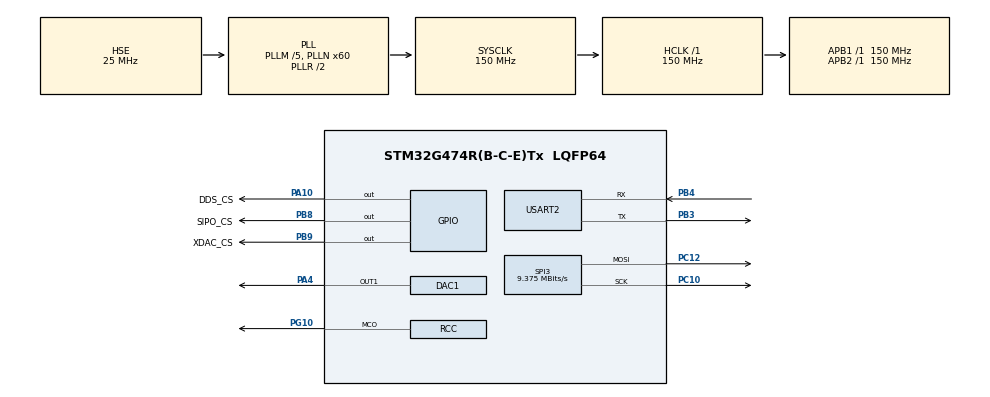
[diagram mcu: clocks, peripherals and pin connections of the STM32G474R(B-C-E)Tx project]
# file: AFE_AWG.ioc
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CRC.CRCLength=CRC_POLYLENGTH_16B
CRC.DefaultInitValueUse=DEFAULT_INIT_VALUE_DISABLE
CRC.DefaultPolynomialUse=DEFAULT_POLYNOMIAL_DISABLE
CRC.GeneratingPolynomial=X12+X5+X0
DAC1.DAC_Trigger_OUT1-DAC_OUT1=DAC_TRIGGER_T7_TRGO
Dma.DAC1_CH1.1.Direction=DMA_MEMORY_TO_PERIPH
Dma.DAC1_CH1.1.EventEnable=DISABLE
Dma.DAC1_CH1.1.Instance=DMA1_Channel1
Dma.DAC1_CH1.1.MemDataAlignment=DMA_MDATAALIGN_HALFWORD
Dma.DAC1_CH1.1.MemInc=DMA_MINC_ENABLE
Dma.DAC1_CH1.1.Mode=DMA_CIRCULAR
Dma.DAC1_CH1.1.PeriphDataAlignment=DMA_PDATAALIGN_WORD
Dma.DAC1_CH1.1.PeriphInc=DMA_PINC_DISABLE
Dma.DAC1_CH1.1.Polarity=HAL_DMAMUX_REQ_GEN_RISING
Dma.DAC1_CH1.1.Priority=DMA_PRIORITY_LOW
Dma.DAC1_CH1.1.RequestNumber=1
Dma.DAC1_CH1.1.SignalID=NONE
Dma.DAC1_CH1.1.SyncEnable=DISABLE
Dma.DAC1_CH1.1.SyncPolarity=HAL_DMAMUX_SYNC_NO_EVENT
Dma.DAC1_CH1.1.SyncRequestNumber=1
Dma.DAC1_CH1.1.SyncSignalID=NONE
Dma.Request0=USART2_RX
Dma.Request1=DAC1_CH1
Dma.USART2_RX.0.Direction=DMA_PERIPH_TO_MEMORY
Dma.USART2_RX.0.EventEnable=DISABLE
Dma.USART2_RX.0.Instance=DMA2_Channel8
Dma.USART2_RX.0.MemDataAlignment=DMA_MDATAALIGN_BYTE
Dma.USART2_RX.0.MemInc=DMA_MINC_ENABLE
Dma.USART2_RX.0.Mode=DMA_NORMAL
Dma.USART2_RX.0.PeriphDataAlignment=DMA_PDATAALIGN_BYTE
Dma.USART2_RX.0.PeriphInc=DMA_PINC_DISABLE
Dma.USART2_RX.0.Polarity=HAL_DMAMUX_REQ_GEN_RISING
Dma.USART2_RX.0.Priority=DMA_PRIORITY_LOW
Dma.USART2_RX.0.RequestNumber=1
Dma.USART2_RX.0.SignalID=NONE
Dma.USART2_RX.0.SyncEnable=DISABLE
Dma.USART2_RX.0.SyncPolarity=HAL_DMAMUX_SYNC_NO_EVENT
Dma.USART2_RX.0.SyncRequestNumber=1
Dma.USART2_RX.0.SyncSignalID=NONE
Mcu.Family=STM32G4
Mcu.Name=STM32G474R(B-C-E)Tx
Mcu.Package=LQFP64
NVIC.DMA2_Channel8_IRQn=true\:0\:0\:false\:false\:true\:false\:true\:true
NVIC.PriorityGroup=NVIC_PRIORITYGROUP_4
NVIC.USART2_IRQn=true\:0\:0\:false\:false\:true\:true\:true\:true
PA10.GPIO_Label=DDS_CS
PA10.PinState=GPIO_PIN_SET
PA10.Signal=GPIO_Output
PA13.Mode=Serial_Wire
PA13.Signal=SYS_JTMS-SWDIO
PA14.Mode=Serial_Wire
PA14.Signal=SYS_JTCK-SWCLK
PA4.Signal=COMP_DAC11_group
PB3.Mode=Asynchronous
PB3.Signal=USART2_TX
PB4.Mode=Asynchronous
PB4.Signal=USART2_RX
PB8-BOOT0.GPIO_Label=SIPO_CS
PB8-BOOT0.PinState=GPIO_PIN_RESET
PB8-BOOT0.Signal=GPIO_Output
PB9.GPIO_Label=XDAC_CS
PB9.PinState=GPIO_PIN_SET
PB9.Signal=GPIO_Output
PC10.Mode=TX_Only_Simplex_Unidirect_Master
PC10.Signal=SPI3_SCK
PC12.Mode=TX_Only_Simplex_Unidirect_Master
PC12.Signal=SPI3_MOSI
PF0-OSC_IN.Mode=HSE-External-Oscillator
PF0-OSC_IN.Signal=RCC_OSC_IN
PF1-OSC_OUT.Mode=HSE-External-Oscillator
PF1-OSC_OUT.Signal=RCC_OSC_OUT
PG10-NRST.Mode=Clock-out
PG10-NRST.Signal=RCC_MCO
ProjectManager.HeapSize=0x200
ProjectManager.StackSize=0x400
ProjectManager.TargetToolchain=STM32CubeIDE
RCC.ADC12Freq_Value=150000000
RCC.ADC345Freq_Value=150000000
RCC.AHBFreq_Value=150000000
RCC.APB1Freq_Value=150000000
RCC.APB1TimFreq_Value=150000000
RCC.APB2Freq_Value=150000000
RCC.APB2TimFreq_Value=150000000
RCC.CortexFreq_Value=150000000
RCC.EXTERNAL_CLOCK_VALUE=12288000
RCC.HCLKFreq_Value=150000000
RCC.HSE_VALUE=25000000
RCC.HSI48_VALUE=48000000
RCC.HSI_VALUE=16000000
RCC.LSE_VALUE=32768
RCC.PLLM=RCC_PLLM_DIV5
RCC.PLLN=60
RCC.PLLSourceVirtual=RCC_PLLSOURCE_HSE
RCC.SYSCLKFreq_VALUE=150000000
RCC.SYSCLKSource=RCC_SYSCLKSOURCE_PLLCLK
RCC.USART2CLockSelection=RCC_USART2CLKSOURCE_SYSCLK
RCC.USBFreq_Value=150000000
RCC.VCOOutputFreq_Value=300000000
SH.COMP_DAC11_group.0=DAC1_OUT1,DAC_OUT1
SPI3.BaudRatePrescaler=SPI_BAUDRATEPRESCALER_16
SPI3.CalculateBaudRate=9.375 MBits/s
SPI3.DataSize=SPI_DATASIZE_8BIT
SPI3.Direction=SPI_DIRECTION_2LINES
SPI3.Mode=SPI_MODE_MASTER
SPI3.VirtualType=VM_MASTER
TIM6.PeriodNoDither=150-1
TIM6.TIM_MasterOutputTrigger=TIM_TRGO_UPDATE
TIM7.PeriodNoDither=150-1
TIM7.TIM_MasterOutputTrigger=TIM_TRGO_UPDATE
USART2.VirtualMode-Asynchronous=VM_ASYNC
VP_CRC_VS_CRC.Mode=CRC_Activate
VP_SYS_VS_DBSignals.Mode=DisableDeadBatterySignals
VP_TIM6_VS_ClockSourceINT.Mode=Enable_Timer
VP_TIM7_VS_ClockSourceINT.Mode=Enable_Timer
board=custom

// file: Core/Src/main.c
/* USER CODE BEGIN Header */
/**
  ******************************************************************************
  * @file           : main.c
  * @brief          : Main program body
  ******************************************************************************
  * @attention
  *
  * Copyright (c) 2024 STMicroelectronics.
  * All rights reserved.
  *
  * This software is licensed under terms that can be found in the LICENSE file
  * in the root directory of this software component.
  * If no LICENSE file comes with this software, it is provided AS-IS.
  *
  ******************************************************************************
  */
/* USER CODE END Header */
#include "main.h"

/* USER CODE BEGIN PD */
#define AFE_GAIN_1  0b00000100
#define AFE_GAIN_2  0b00001000
#define AFE_GAIN_3  0b00000000
#define AFE_GAIN_4  0b00001110
#define AFE_GAIN_5  0b00001100
#define AFE_GAIN_6  0b00000010

#define DAC_AFE_OFF1 0
#define DAC_AFE_OFF2 1

#define AFE_GAIN_CS SIPO_CS

#define AWG_GAIN_1  0b00000100
#define AWG_GAIN_2  0b00100000
#define AWG_GAIN_3  0b00010000
#define AWG_GAIN_4  0b00110000
/* USER CODE END PD */

CRC_HandleTypeDef hcrc;

DAC_HandleTypeDef hdac1;
DMA_HandleTypeDef hdma_dac1_ch1;

SPI_HandleTypeDef hspi3;

TIM_HandleTypeDef htim6;
TIM_HandleTypeDef htim7;

UART_HandleTypeDef huart2;
DMA_HandleTypeDef hdma_usart2_rx;

/* USER CODE BEGIN PV */
uint8_t gain_state;
uint16_t awg_offset_level_buffer[16]={
    2048, 2048, 2048, 2048,
    2048, 2048, 2048, 2048,
    2048, 2048, 2048, 2048,
    2048, 2048, 2048, 2048
};
/* USER CODE END PV */

void SystemClock_Config(void);
static void MX_GPIO_Init(void);
static void MX_DMA_Init(void);
static void MX_CRC_Init(void);
static void MX_USART2_UART_Init(void);
static void MX_SPI3_Init(void);
static void MX_DAC1_Init(void);
static void MX_TIM6_Init(void);
static void MX_TIM7_Init(void);
/* USER CODE BEGIN PFP */
/**
 * @brief  AFE Offset DAC init,must run is before set offset of AFE
 */
void AFE_Offset_LDAC_Init(){
  uint8_t cmd[2]={144,0};
  HAL_GPIO_WritePin(XDAC_CS_GPIO_Port, XDAC_CS_Pin, GPIO_PIN_RESET);
  HAL_SPI_Transmit(&hspi3, cmd, 2, 1000);
  HAL_GPIO_WritePin(XDAC_CS_GPIO_Port, XDAC_CS_Pin, GPIO_PIN_SET);
}

/**
  * @brief  set AFE gain
  * @param  gain_level uint8_t from 1 to 6, bigger number bigger gain, gain is 1/3, 1, 3, 9.5, 19, 39,
  *                    with a extra 1/5 decrease
  */
void AFE_Gain(uint8_t gain_level){
  if (gain_level<=0 || gain_level>6){
    return;
  }
  else {

    uint8_t Gain_Levels[6]={
        AFE_GAIN_1, AFE_GAIN_2, AFE_GAIN_3,
        AFE_GAIN_4, AFE_GAIN_5, AFE_GAIN_6
    };
    gain_state |= Gain_Levels[gain_level-1];
    HAL_GPIO_WritePin(SIPO_CS_GPIO_Port, SIPO_CS_Pin, GPIO_PIN_RESET);
    HAL_SPI_Transmit(&hspi3, &gain_state, 1, 1000);
    HAL_GPIO_WritePin(SIPO_CS_GPIO_Port, SIPO_CS_Pin, GPIO_PIN_SET);
  }
}

/**
  * @brief  set AFE offset
  * @param  offset_level uint16_t from 0 to 4095, 12bit DAC with Vref is 5V
  */
void AFE_Offset(uint16_t offset_level){
  if (offset_level <0 || offset_level >= 4096) {
    return ;
  }
  else {
    uint8_t AFE_cmd[2];
    AFE_cmd[0]= DAC_AFE_OFF2*16+offset_level/256;
    AFE_cmd[1]= offset_level%256;
    HAL_GPIO_WritePin(XDAC_CS_GPIO_Port, XDAC_CS_Pin, GPIO_PIN_RESET);
    HAL_SPI_Transmit(&hspi3, AFE_cmd, 2, 1000);
    HAL_GPIO_WritePin(XDAC_CS_GPIO_Port, XDAC_CS_Pin, GPIO_PIN_SET);
  }
}

/**
  * @brief  set sigma_delta modulation
 */
void sigma_delta(uint16_t value_16bit, uint16_t* seq_12bit) {
  uint16_t base = value_16bit >> 4;
  uint8_t n = value_16bit & 0xf;
  uint8_t e=0;
  for (int i=0;i<16;i++) {
    e+=n;
    if (e>=8) {
      e-=16;
      seq_12bit[i]=base+1;
    }
    else{
      seq_12bit[i]=base;
    }
  }
}

/**
  * @brief  set AWG offset
  * @param  offset_level uint16_t from 0 to 65520, 16bit DAC ,from -5V to 5V
  */
void AWG_Offset(uint16_t offset_level){
  if (offset_level <0 || offset_level > 65520) {
      return ;
    }
  else {
    sigma_delta(offset_level,awg_offset_level_buffer);
  }
}

void AWG_Offset_Init(){
  HAL_DAC_Start_DMA(&hdac1, DAC_CHANNEL_1, (uint32_t *)awg_offset_level_buffer, 16, DAC_ALIGN_12B_R);
  HAL_TIM_Base_Start(&htim7);
}

void AWG_Offset_Stop(){
  HAL_DAC_Stop_DMA(&hdac1, DAC_CHANNEL_1);
  HAL_TIM_Base_Stop(&htim7);
}

void AWG_Gain(uint16_t gain_level){
  if (gain_level<=0 || gain_level>4) {
    return;
  }
  else {
    uint8_t Gain_Levels[4]={
          AWG_GAIN_1, AWG_GAIN_2,
          AWG_GAIN_3, AWG_GAIN_4
      };
    gain_state |= Gain_Levels[gain_level-1];
    HAL_GPIO_WritePin(SIPO_CS_GPIO_Port, SIPO_CS_Pin, GPIO_PIN_RESET);
    HAL_SPI_Transmit(&hspi3, &gain_state, 1, 1000);
    HAL_GPIO_WritePin(SIPO_CS_GPIO_Port, SIPO_CS_Pin, GPIO_PIN_SET);
  }
}
/* USER CODE END PFP */

int main(void)
{

  /* MCU Configuration--------------------------------------------------------*/

  /* Reset of all peripherals, Initializes the Flash interface and the Systick. */
  HAL_Init();

  /* Configure the system clock */
  SystemClock_Config();

  /* Initialize all configured peripherals */
  MX_GPIO_Init();
  MX_DMA_Init();
  MX_CRC_Init();
  MX_USART2_UART_Init();
  MX_SPI3_Init();
  MX_DAC1_Init();
  MX_TIM6_Init();
  MX_TIM7_Init();
  /* USER CODE BEGIN 2 */
  AFE_Offset_LDAC_Init();
  AFE_Gain(4);
  AFE_Offset(30);

  //AWG_Gain(1);
  /* USER CODE END 2 */

  /* Infinite loop */
  while (1)
  {

  }
}

void SystemClock_Config(void)
{
  RCC_OscInitTypeDef RCC_OscInitStruct = {0};
  RCC_ClkInitTypeDef RCC_ClkInitStruct = {0};

  /** Configure the main internal regulator output voltage
  */
  HAL_PWREx_ControlVoltageScaling(PWR_REGULATOR_VOLTAGE_SCALE1);

  /** Initializes the RCC Oscillators according to the specified parameters
  * in the RCC_OscInitTypeDef structure.
  */
  RCC_OscInitStruct.OscillatorType = RCC_OSCILLATORTYPE_HSI|RCC_OSCILLATORTYPE_HSE;
  RCC_OscInitStruct.HSEState = RCC_HSE_ON;
  RCC_OscInitStruct.HSIState = RCC_HSI_ON;
  RCC_OscInitStruct.HSICalibrationValue = RCC_HSICALIBRATION_DEFAULT;
  RCC_OscInitStruct.PLL.PLLState = RCC_PLL_ON;
  RCC_OscInitStruct.PLL.PLLSource = RCC_PLLSOURCE_HSE;
  RCC_OscInitStruct.PLL.PLLM = RCC_PLLM_DIV5;
  RCC_OscInitStruct.PLL.PLLN = 60;
  RCC_OscInitStruct.PLL.PLLP = RCC_PLLP_DIV2;
  RCC_OscInitStruct.PLL.PLLQ = RCC_PLLQ_DIV2;
  RCC_OscInitStruct.PLL.PLLR = RCC_PLLR_DIV2;
  if (HAL_RCC_OscConfig(&RCC_OscInitStruct) != HAL_OK)
  {
    Error_Handler();
  }

  /** Initializes the CPU, AHB and APB buses clocks
  */
  RCC_ClkInitStruct.ClockType = RCC_CLOCKTYPE_HCLK|RCC_CLOCKTYPE_SYSCLK
                              |RCC_CLOCKTYPE_PCLK1|RCC_CLOCKTYPE_PCLK2;
  RCC_ClkInitStruct.SYSCLKSource = RCC_SYSCLKSOURCE_PLLCLK;
  RCC_ClkInitStruct.AHBCLKDivider = RCC_SYSCLK_DIV1;
  RCC_ClkInitStruct.APB1CLKDivider = RCC_HCLK_DIV1;
  RCC_ClkInitStruct.APB2CLKDivider = RCC_HCLK_DIV1;

  if (HAL_RCC_ClockConfig(&RCC_ClkInitStruct, FLASH_LATENCY_4) != HAL_OK)
  {
    Error_Handler();
  }
  HAL_RCC_MCOConfig(RCC_MCO_PG10, RCC_MCO1SOURCE_HSI, RCC_MCODIV_1);
}

static void MX_CRC_Init(void)
{

  hcrc.Instance = CRC;
  hcrc.Init.DefaultPolynomialUse = DEFAULT_POLYNOMIAL_DISABLE;
  hcrc.Init.DefaultInitValueUse = DEFAULT_INIT_VALUE_DISABLE;
  hcrc.Init.GeneratingPolynomial = 4129;
  hcrc.Init.CRCLength = CRC_POLYLENGTH_16B;
  hcrc.Init.InitValue = 0;
  hcrc.Init.InputDataInversionMode = CRC_INPUTDATA_INVERSION_NONE;
  hcrc.Init.OutputDataInversionMode = CRC_OUTPUTDATA_INVERSION_DISABLE;
  hcrc.InputDataFormat = CRC_INPUTDATA_FORMAT_BYTES;
  if (HAL_CRC_Init(&hcrc) != HAL_OK)
  {
    Error_Handler();
  }

}

static void MX_DAC1_Init(void)
{

  DAC_ChannelConfTypeDef sConfig = {0};

  /** DAC Initialization
  */
  hdac1.Instance = DAC1;
  if (HAL_DAC_Init(&hdac1) != HAL_OK)
  {
    Error_Handler();
  }

  /** DAC channel OUT1 config
  */
  sConfig.DAC_HighFrequency = DAC_HIGH_FREQUENCY_INTERFACE_MODE_AUTOMATIC;
  sConfig.DAC_DMADoubleDataMode = DISABLE;
  sConfig.DAC_SignedFormat = DISABLE;
  sConfig.DAC_SampleAndHold = DAC_SAMPLEANDHOLD_DISABLE;
  sConfig.DAC_Trigger = DAC_TRIGGER_T7_TRGO;
  sConfig.DAC_Trigger2 = DAC_TRIGGER_NONE;
  sConfig.DAC_OutputBuffer = DAC_OUTPUTBUFFER_ENABLE;
  sConfig.DAC_ConnectOnChipPeripheral = DAC_CHIPCONNECT_EXTERNAL;
  sConfig.DAC_UserTrimming = DAC_TRIMMING_FACTORY;
  if (HAL_DAC_ConfigChannel(&hdac1, &sConfig, DAC_CHANNEL_1) != HAL_OK)
  {
    Error_Handler();
  }

}

static void MX_SPI3_Init(void)
{

  /* SPI3 parameter configuration*/
  hspi3.Instance = SPI3;
  hspi3.Init.Mode = SPI_MODE_MASTER;
  hspi3.Init.Direction = SPI_DIRECTION_2LINES;
  hspi3.Init.DataSize = SPI_DATASIZE_8BIT;
  hspi3.Init.CLKPolarity = SPI_POLARITY_LOW;
  hspi3.Init.CLKPhase = SPI_PHASE_1EDGE;
  hspi3.Init.NSS = SPI_NSS_SOFT;
  hspi3.Init.BaudRatePrescaler = SPI_BAUDRATEPRESCALER_16;
  hspi3.Init.FirstBit = SPI_FIRSTBIT_MSB;
  hspi3.Init.TIMode = SPI_TIMODE_DISABLE;
  hspi3.Init.CRCCalculation = SPI_CRCCALCULATION_DISABLE;
  hspi3.Init.CRCPolynomial = 7;
  hspi3.Init.CRCLength = SPI_CRC_LENGTH_DATASIZE;
  hspi3.Init.NSSPMode = SPI_NSS_PULSE_ENABLE;
  if (HAL_SPI_Init(&hspi3) != HAL_OK)
  {
    Error_Handler();
  }

}

static void MX_TIM6_Init(void)
{

  TIM_MasterConfigTypeDef sMasterConfig = {0};

  htim6.Instance = TIM6;
  htim6.Init.Prescaler = 0;
  htim6.Init.CounterMode = TIM_COUNTERMODE_UP;
  htim6.Init.Period = 149;
  htim6.Init.AutoReloadPreload = TIM_AUTORELOAD_PRELOAD_DISABLE;
  if (HAL_TIM_Base_Init(&htim6) != HAL_OK)
  {
    Error_Handler();
  }
  sMasterConfig.MasterOutputTrigger = TIM_TRGO_UPDATE;
  sMasterConfig.MasterSlaveMode = TIM_MASTERSLAVEMODE_DISABLE;
  if (HAL_TIMEx_MasterConfigSynchronization(&htim6, &sMasterConfig) != HAL_OK)
  {
    Error_Handler();
  }

}

static void MX_TIM7_Init(void)
{

  TIM_MasterConfigTypeDef sMasterConfig = {0};

  htim7.Instance = TIM7;
  htim7.Init.Prescaler = 0;
  htim7.Init.CounterMode = TIM_COUNTERMODE_UP;
  htim7.Init.Period = 149;
  htim7.Init.AutoReloadPreload = TIM_AUTORELOAD_PRELOAD_DISABLE;
  if (HAL_TIM_Base_Init(&htim7) != HAL_OK)
  {
    Error_Handler();
  }
  sMasterConfig.MasterOutputTrigger = TIM_TRGO_UPDATE;
  sMasterConfig.MasterSlaveMode = TIM_MASTERSLAVEMODE_DISABLE;
  if (HAL_TIMEx_MasterConfigSynchronization(&htim7, &sMasterConfig) != HAL_OK)
  {
    Error_Handler();
  }

}

static void MX_USART2_UART_Init(void)
{

  huart2.Instance = USART2;
  huart2.Init.BaudRate = 115200;
  huart2.Init.WordLength = UART_WORDLENGTH_8B;
  huart2.Init.StopBits = UART_STOPBITS_1;
  huart2.Init.Parity = UART_PARITY_NONE;
  huart2.Init.Mode = UART_MODE_TX_RX;
  huart2.Init.HwFlowCtl = UART_HWCONTROL_NONE;
  huart2.Init.OverSampling = UART_OVERSAMPLING_16;
  huart2.Init.OneBitSampling = UART_ONE_BIT_SAMPLE_DISABLE;
  huart2.Init.ClockPrescaler = UART_PRESCALER_DIV1;
  huart2.AdvancedInit.AdvFeatureInit = UART_ADVFEATURE_NO_INIT;
  if (HAL_UART_Init(&huart2) != HAL_OK)
  {
    Error_Handler();
  }
  if (HAL_UARTEx_SetTxFifoThreshold(&huart2, UART_TXFIFO_THRESHOLD_1_8) != HAL_OK)
  {
    Error_Handler();
  }
  if (HAL_UARTEx_SetRxFifoThreshold(&huart2, UART_RXFIFO_THRESHOLD_1_8) != HAL_OK)
  {
    Error_Handler();
  }
  if (HAL_UARTEx_DisableFifoMode(&huart2) != HAL_OK)
  {
    Error_Handler();
  }

}

static void MX_DMA_Init(void)
{

  /* DMA controller clock enable */
  __HAL_RCC_DMAMUX1_CLK_ENABLE();
  __HAL_RCC_DMA2_CLK_ENABLE();
  __HAL_RCC_DMA1_CLK_ENABLE();

  /* DMA interrupt init */
  /* DMA2_Channel8_IRQn interrupt configuration */
  HAL_NVIC_SetPriority(DMA2_Channel8_IRQn, 0, 0);
  HAL_NVIC_EnableIRQ(DMA2_Channel8_IRQn);

}

static void MX_GPIO_Init(void)
{
  GPIO_InitTypeDef GPIO_InitStruct = {0};

  /* GPIO Ports Clock Enable */
  __HAL_RCC_GPIOF_CLK_ENABLE();
  __HAL_RCC_GPIOG_CLK_ENABLE();
  __HAL_RCC_GPIOA_CLK_ENABLE();
  __HAL_RCC_GPIOC_CLK_ENABLE();
  __HAL_RCC_GPIOB_CLK_ENABLE();

  /*Configure GPIO pin Output Level */
  HAL_GPIO_WritePin(DDS_CS_GPIO_Port, DDS_CS_Pin, GPIO_PIN_SET);

  /*Configure GPIO pin Output Level */
  HAL_GPIO_WritePin(SIPO_CS_GPIO_Port, SIPO_CS_Pin, GPIO_PIN_RESET);

  /*Configure GPIO pin Output Level */
  HAL_GPIO_WritePin(XDAC_CS_GPIO_Port, XDAC_CS_Pin, GPIO_PIN_SET);

  /*Configure GPIO pin : PG10 */
  GPIO_InitStruct.Pin = GPIO_PIN_10;
  GPIO_InitStruct.Mode = GPIO_MODE_AF_PP;
  GPIO_InitStruct.Pull = GPIO_NOPULL;
  GPIO_InitStruct.Speed = GPIO_SPEED_FREQ_LOW;
  GPIO_InitStruct.Alternate = GPIO_AF0_MCO;
  HAL_GPIO_Init(GPIOG, &GPIO_InitStruct);

  /*Configure GPIO pin : DDS_CS_Pin */
  GPIO_InitStruct.Pin = DDS_CS_Pin;
  GPIO_InitStruct.Mode = GPIO_MODE_OUTPUT_PP;
  GPIO_InitStruct.Pull = GPIO_NOPULL;
  GPIO_InitStruct.Speed = GPIO_SPEED_FREQ_LOW;
  HAL_GPIO_Init(DDS_CS_GPIO_Port, &GPIO_InitStruct);

  /*Configure GPIO pins : SIPO_CS_Pin XDAC_CS_Pin */
  GPIO_InitStruct.Pin = SIPO_CS_Pin|XDAC_CS_Pin;
  GPIO_InitStruct.Mode = GPIO_MODE_OUTPUT_PP;
  GPIO_InitStruct.Pull = GPIO_NOPULL;
  GPIO_InitStruct.Speed = GPIO_SPEED_FREQ_LOW;
  HAL_GPIO_Init(GPIOB, &GPIO_InitStruct);

}

void Error_Handler(void)
{
  __disable_irq();
  while (1)
  {
  }
}
